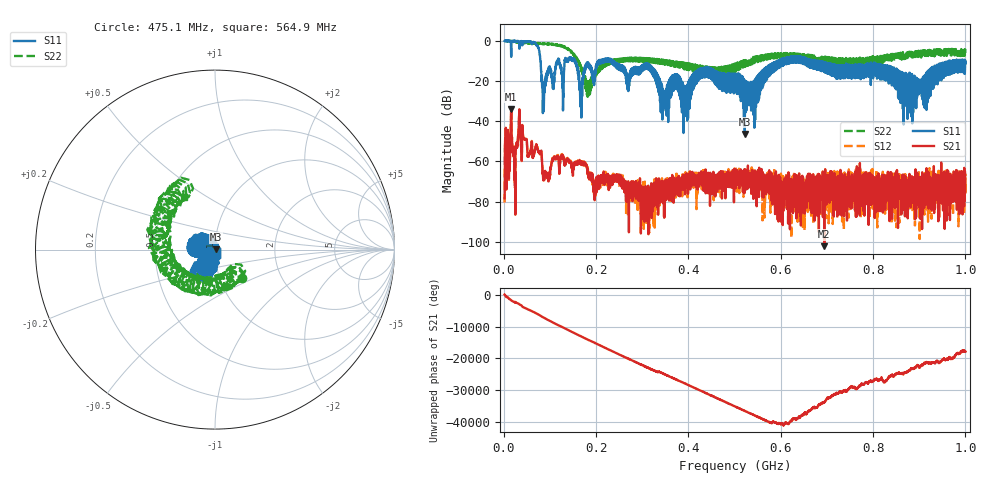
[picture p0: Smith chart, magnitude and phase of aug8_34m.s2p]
!Keysight Technologies N9923A: A.12.45
!Date: Friday, 08 August 2025 17:55:27
!Timezone: (UTC+08:00) Kuala Lumpur, Singapore
!Model: N9923A
!Serial: MY61181427
!GPS Latitude:
!GPS Longitude:
!GPS TimeStamp: 0001-01-01 00:00:00Z
!GPS Seconds Since Last Read: 0
!CHECKSUM:2060178968
!Correction: S11(ON U)S21(ON U)S12(ON U)S22(ON U)
!S2P File: Measurements:S11,S21,S12,S22:
# Hz S DB R 50
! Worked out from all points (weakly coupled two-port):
!   4001 points, 2 MHz to 1 GHz, reference 50 ohm
!   highest |S21| = -33.91 dB at 16.22 MHz (marker M1); lowest = -102.0 dB at 694.4 MHz (marker M2)
!   lowest |S11| = -46.3 dB at 522.2 MHz (marker M3), VSWR 1.01, Z = 50.5 + j0.155 ohm
!   |S11| at or under -10 dB: 155.2 MHz to 205.9 MHz (50.64 MHz wide, 28.1 % of centre); 236.1 MHz to 594.5 MHz (358.4 MHz wide, 86.3 % of centre); 680.7 MHz to 965.8 MHz (285.1 MHz wide, 34.6 % of centre) (the widest 3 of 99)
!   |S22| runs from -28.0 to 0.1 dB; largest |S21 - S12| = 0.0012
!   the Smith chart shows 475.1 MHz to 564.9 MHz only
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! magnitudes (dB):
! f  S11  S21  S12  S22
! 2 MHz  -0.1  -78.3  -80.4  0.0
! 16.22 MHz  -8.1  -33.9  -34.0  -0.3
! 36.93 MHz  -0.5  -49.9  -49.9  -0.8
! 70.86 MHz  -2.0  -51.5  -51.3  -1.2
! 86.83 MHz  -35.1  -68.9  -69.7  -1.7
! 145.2 MHz  -8.4  -60.9  -59.6  -5.6
! 168.4 MHz  -35.9  -61.2  -59.9  -14.0
! 183.6 MHz  -11.3  -66.6  -66.9  -28.0
! 222.8 MHz  -9.0  -67.0  -67.5  -10.5
! 334.8 MHz  -19.1  -73.1  -76.0  -11.4
! 348.3 MHz  -30.5  -75.2  -71.6  -11.9
! 372.3 MHz  -16.9  -72.0  -78.0  -11.4
! 394.2 MHz  -35.0  -71.0  -69.0  -11.7
! 430.1 MHz  -13.6  -72.1  -72.8  -13.6
! 501 MHz  -16.3  -67.6  -65.8  -15.6
! 522.2 MHz  -46.3  -66.8  -66.9  -9.7
! 604.5 MHz  -9.0  -73.4  -67.2  -6.4
! 667.4 MHz  -10.1  -77.3  -77.6  -8.3
! 694.4 MHz  -10.8  -102.0  -68.5  -8.9
! 833.8 MHz  -18.9  -72.9  -70.3  -8.0
! 890 MHz  -32.4  -73.1  -84.5  -5.6
! 1 GHz  -11.3  -68.8  -71.7  -6.1
